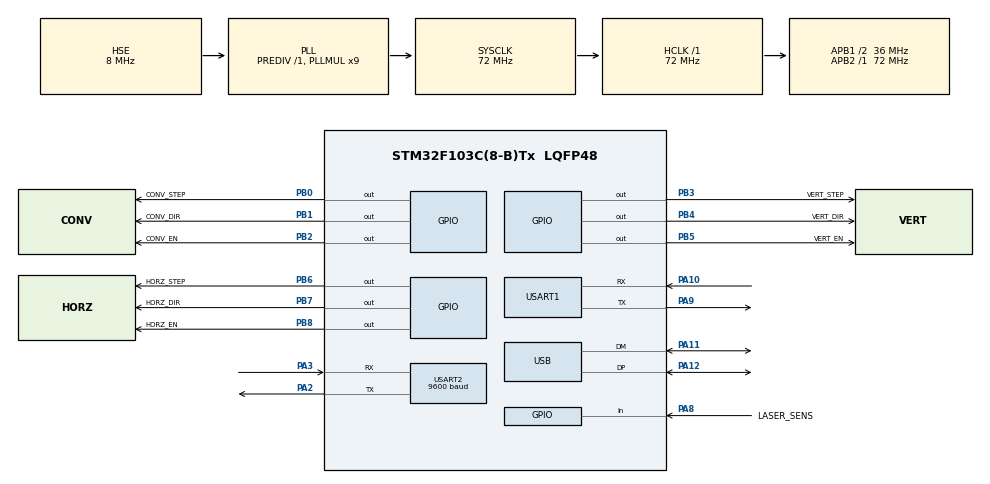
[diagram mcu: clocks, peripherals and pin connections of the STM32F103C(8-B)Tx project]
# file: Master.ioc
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Mcu.Family=STM32F1
Mcu.Name=STM32F103C(8-B)Tx
Mcu.Package=LQFP48
NVIC.PriorityGroup=NVIC_PRIORITYGROUP_4
NVIC.TIM2_IRQn=true\:0\:0\:false\:false\:true\:true\:true\:true
NVIC.USART1_IRQn=true\:0\:0\:false\:false\:true\:true\:true\:true
NVIC.USART2_IRQn=true\:0\:0\:false\:false\:true\:true\:true\:true
PA10.Mode=Asynchronous
PA10.Signal=USART1_RX
PA11.Mode=Device
PA11.Signal=USB_DM
PA12.Mode=Device
PA12.Signal=USB_DP
PA2.Mode=Asynchronous
PA2.Signal=USART2_TX
PA3.Mode=Asynchronous
PA3.Signal=USART2_RX
PA8.GPIO_Label=LASER_SENS
PA8.GPIO_PuPd=GPIO_PULLUP
PA8.Signal=GPIO_Input
PA9.Mode=Asynchronous
PA9.Signal=USART1_TX
PB0.GPIO_Label=CONV_STEP
PB0.Signal=GPIO_Output
PB1.GPIO_Label=CONV_DIR
PB1.Signal=GPIO_Output
PB2.GPIO_Label=CONV_EN
PB2.Signal=GPIO_Output
PB3.GPIO_Label=VERT_STEP
PB3.Signal=GPIO_Output
PB4.GPIO_Label=VERT_DIR
PB4.Signal=GPIO_Output
PB5.GPIO_Label=VERT_EN
PB5.Signal=GPIO_Output
PB6.GPIO_Label=HORZ_STEP
PB6.Signal=GPIO_Output
PB7.GPIO_Label=HORZ_DIR
PB7.Signal=GPIO_Output
PB8.GPIO_Label=HORZ_EN
PB8.Signal=GPIO_Output
PC14-OSC32_IN.Mode=LSE-External-Oscillator
PC14-OSC32_IN.Signal=RCC_OSC32_IN
PC15-OSC32_OUT.Mode=LSE-External-Oscillator
PC15-OSC32_OUT.Signal=RCC_OSC32_OUT
PD0-OSC_IN.Mode=HSE-External-Oscillator
PD0-OSC_IN.Signal=RCC_OSC_IN
PD1-OSC_OUT.Mode=HSE-External-Oscillator
PD1-OSC_OUT.Signal=RCC_OSC_OUT
ProjectManager.HeapSize=0x200
ProjectManager.StackSize=0x400
ProjectManager.TargetToolchain=CMake
RCC.AHBFreq_Value=72000000
RCC.APB1CLKDivider=RCC_HCLK_DIV2
RCC.APB1Freq_Value=36000000
RCC.APB1TimFreq_Value=72000000
RCC.APB2Freq_Value=72000000
RCC.APB2TimFreq_Value=72000000
RCC.HCLKFreq_Value=72000000
RCC.PLLMUL=RCC_PLL_MUL9
RCC.SYSCLKFreq_VALUE=72000000
RCC.SYSCLKSource=RCC_SYSCLKSOURCE_PLLCLK
RCC.USBFreq_Value=48000000
RCC.USBPrescaler=RCC_USBCLKSOURCE_PLL_DIV1_5
USART1.VirtualMode=VM_ASYNC
USART2.BaudRate=9600
USART2.VirtualMode=VM_ASYNC
VP_SYS_VS_ND.Mode=No_Debug
VP_TIM2_VS_ClockSourceINT.Mode=Internal
board=custom

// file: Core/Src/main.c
/* USER CODE BEGIN Header */
/**
  ******************************************************************************
  * @file           : main.c
  * @brief          : Main program body
  ******************************************************************************
  * @attention
  *
  * Copyright (c) 2026 STMicroelectronics.
  * All rights reserved.
  *
  * This software is licensed under terms that can be found in the LICENSE file
  * in the root directory of this software component.
  * If no LICENSE file comes with this software, it is provided AS-IS.
  *
  ******************************************************************************
  */
/* USER CODE END Header */
#include "main.h"

/* USER CODE BEGIN Includes */
#include <stdlib.h>
#include <string.h>
#include <stdio.h>
#include <stdarg.h>
/* USER CODE END Includes */

/* USER CODE BEGIN PD */
#define MY_MCU_ID      1
#define MAX_ROWS       10
#define MAX_COLS       10
#define STEPS_PER_UNIT 100
/* USER CODE END PD */

TIM_HandleTypeDef htim2;

UART_HandleTypeDef huart1;
UART_HandleTypeDef huart2;

PCD_HandleTypeDef hpcd_USB_FS;

/* USER CODE BEGIN PV */
int current_row = 0;
int current_col = 0;

#define RX_BUFFER_SIZE 15
uint8_t rx_byte;
char rx_str_buffer[RX_BUFFER_SIZE];
uint8_t rx_index = 0;
volatile uint8_t command_ready = 0;
/* USER CODE END PV */

void SystemClock_Config(void);
static void MX_GPIO_Init(void);
static void MX_TIM2_Init(void);
static void MX_USART1_UART_Init(void);
static void MX_USART2_UART_Init(void);
static void MX_USB_PCD_Init(void);

/* USER CODE BEGIN 0 */
void delay_us(uint32_t us) {
    __HAL_TIM_SET_COUNTER(&htim2, 0);
    while (__HAL_TIM_GET_COUNTER(&htim2) < us);
}

void send_status(const char* format, ...) {
    char buffer[64];
    va_list args;
    va_start(args, format);
    int len = vsnprintf(buffer, sizeof(buffer), format, args);
    va_end(args);

    if (len > 0) {
        char final_msg[80];
        int final_len = snprintf(final_msg, sizeof(final_msg), "%s\r\n", buffer);
        HAL_UART_Transmit(&huart1, (uint8_t*)final_msg, final_len, HAL_MAX_DELAY);
    }
}

void execute_motor_steps(const char* axis_name, int total_steps, int forward) {
    if (strcmp(axis_name, "Vertical") == 0) {
        GPIO_PinState dir_state = forward ? GPIO_PIN_SET : GPIO_PIN_RESET;
        HAL_GPIO_WritePin(GPIOB, VERT_DIR_Pin, dir_state);
        HAL_GPIO_WritePin(GPIOB, VERT_EN_Pin, GPIO_PIN_RESET); // Enable driver

        for (int i = 0; i < total_steps; i++) {
            HAL_GPIO_WritePin(GPIOB, VERT_STEP_Pin, GPIO_PIN_SET);
            delay_us(5);
            HAL_GPIO_WritePin(GPIOB, VERT_STEP_Pin, GPIO_PIN_RESET);
            delay_us(5);
        }
    } else {
        GPIO_PinState dir_state = forward ? GPIO_PIN_SET : GPIO_PIN_RESET;
        HAL_GPIO_WritePin(GPIOB, HORZ_DIR_Pin, dir_state);
        HAL_GPIO_WritePin(GPIOB, HORZ_EN_Pin, GPIO_PIN_RESET); // Enable driver

        for (int i = 0; i < total_steps; i++) {
            HAL_GPIO_WritePin(GPIOB, HORZ_STEP_Pin, GPIO_PIN_SET);
            delay_us(5);
            HAL_GPIO_WritePin(GPIOB, HORZ_STEP_Pin, GPIO_PIN_RESET);
            delay_us(5);
        }
    }
}

void move_to_coordinate(int target_row, int target_col) {
    if (target_row < 0 || target_row >= MAX_ROWS || target_col < 0 || target_col >= MAX_COLS) {
        return;
    }

    int row_diff = target_row - current_row;
    int col_diff = target_col - current_col;

    if (row_diff != 0) {
        int forward = (row_diff > 0) ? 1 : 0;
        int total_steps = abs(row_diff) * STEPS_PER_UNIT;
        execute_motor_steps("Vertical", total_steps, forward);
        current_row = target_row;
    }

    if (col_diff != 0) {
        int forward = (col_diff > 0) ? 1 : 0;
        int total_steps = abs(col_diff) * STEPS_PER_UNIT;
        execute_motor_steps("Horizontal", total_steps, forward);
        current_col = target_col;
    }
}

void run_conveyor_until_sensor(void) {
    HAL_GPIO_WritePin(GPIOB, CONV_DIR_Pin, GPIO_PIN_SET);
    HAL_GPIO_WritePin(GPIOB, CONV_EN_Pin, GPIO_PIN_RESET);

    while (HAL_GPIO_ReadPin(LASER_SENS_GPIO_Port, LASER_SENS_Pin) == GPIO_PIN_SET) {
        HAL_GPIO_WritePin(GPIOB, CONV_STEP_Pin, GPIO_PIN_SET);
        delay_us(1000);
        HAL_GPIO_WritePin(GPIOB, CONV_STEP_Pin, GPIO_PIN_RESET);
        delay_us(1000);
    }

    send_status("Laser: Object Detected");

    HAL_GPIO_WritePin(GPIOB, CONV_EN_Pin, GPIO_PIN_SET);
    send_status("Conveyor: Stoped");
}
/* USER CODE END 0 */

int main(void)
{

  /* MCU Configuration--------------------------------------------------------*/

  /* Reset of all peripherals, Initializes the Flash interface and the Systick. */
  HAL_Init();

  /* Configure the system clock */
  SystemClock_Config();

  /* Initialize all configured peripherals */
  MX_GPIO_Init();
  MX_TIM2_Init();
  MX_USART1_UART_Init();
  MX_USART2_UART_Init();
  MX_USB_PCD_Init();
  /* USER CODE BEGIN 2 */
  // Start microsecond timer
  HAL_TIM_Base_Start(&htim2);

  // Start listening for incoming commands on UART1 via interrupt
  HAL_UART_Receive_IT(&huart1, &rx_byte, 1);
  /* USER CODE END 2 */

  /* Infinite loop */
  /* USER CODE BEGIN WHILE */
  while (1)
  {
    if (command_ready){
command_ready = 0;

      send_status("1. Message Received: \"%s\"", rx_str_buffer);

      if (strlen(rx_str_buffer) >= 3) {
        int target_mcu_id = rx_str_buffer[0] - '0';
        char row_char = rx_str_buffer[1];
        int target_c = atoi(&rx_str_buffer[2]);

        if (target_mcu_id != MY_MCU_ID) {
          send_status("2. Address Wrong: \"%s\"", rx_str_buffer);
          send_status("3. Sending to MCU: %d", target_mcu_id);

          char forward_msg[RX_BUFFER_SIZE + 2];
          sprintf(forward_msg, "%s\r\n", rx_str_buffer);
          HAL_UART_Transmit(&huart2, (uint8_t*)forward_msg, strlen(forward_msg), HAL_MAX_DELAY);
        } else {
          send_status("4. Address Confirmed: \"%s\"", rx_str_buffer);
          send_status("5. Current Position: %d, %c, %d", MY_MCU_ID, current_row + 'A', current_col);

          int target_r = -1;
          if (row_char >= 'A' && row_char <= 'J') {
              target_r = row_char - 'A';
          } else if (row_char >= 'a' && row_char <= 'j') {
              target_r = row_char - 'a';
          }

          if (target_r >= 0 && target_c >= 0 && target_c < MAX_COLS) {
            send_status("6. Moving To Desired Point: \"%c%d\"", row_char, target_c);

            // 1. Move table to target coordinates
            move_to_coordinate(target_r, target_c);
            send_status("7. Current Position: %d, %c, %d", MY_MCU_ID, current_row + 'A', current_col);

            // 2. Picking phase
            send_status("8. Picking: \"5 Pick\"");
            char pick_msg[] = "5_pick\r\n";
            HAL_UART_Transmit(&huart2, (uint8_t*)pick_msg, strlen(pick_msg), HAL_MAX_DELAY);

            HAL_Delay(10000);
            send_status("9. Picking: Done");

            // 3. Moving to drop point (A0)
            send_status("10. Moving to Drop point: \"A0\"");
            move_to_coordinate(0, 0);
            send_status("11. Current Position: %d, %c, %d", MY_MCU_ID, current_row + 'A', current_col);

            send_status("12. Droping: \"5 Drop\"");
            // (Optional drop transmission if needed, status logged)

            HAL_Delay(2000); // Small drop pause if needed
            send_status("13. Droping: Done");

            // 4. Moving to Home
            send_status("14. Moving to Home \"A0\"");
            move_to_coordinate(0, 0);
            send_status("15. Current Position: %d, %c, %d", MY_MCU_ID, current_row + 'A', current_col);

            // 5. Conveyor delivery
            send_status("16. Send Conveyor task: \"1 Deliver\"");
            run_conveyor_until_sensor();

            send_status("20. Task: Finished");
          }
        }
      }
    }
                /* USER CODE END WHILE */
    }
}

void SystemClock_Config(void)
{
  RCC_OscInitTypeDef RCC_OscInitStruct = {0};
  RCC_ClkInitTypeDef RCC_ClkInitStruct = {0};
  RCC_PeriphCLKInitTypeDef PeriphClkInit = {0};

  /** Initializes the RCC Oscillators according to the specified parameters
  * in the RCC_OscInitTypeDef structure.
  */
  RCC_OscInitStruct.OscillatorType = RCC_OSCILLATORTYPE_HSE;
  RCC_OscInitStruct.HSEState = RCC_HSE_ON;
  RCC_OscInitStruct.HSEPredivValue = RCC_HSE_PREDIV_DIV1;
  RCC_OscInitStruct.HSIState = RCC_HSI_ON;
  RCC_OscInitStruct.PLL.PLLState = RCC_PLL_ON;
  RCC_OscInitStruct.PLL.PLLSource = RCC_PLLSOURCE_HSE;
  RCC_OscInitStruct.PLL.PLLMUL = RCC_PLL_MUL9;
  if (HAL_RCC_OscConfig(&RCC_OscInitStruct) != HAL_OK)
  {
    Error_Handler();
  }

  /** Initializes the CPU, AHB and APB buses clocks
  */
  RCC_ClkInitStruct.ClockType = RCC_CLOCKTYPE_HCLK|RCC_CLOCKTYPE_SYSCLK
                              |RCC_CLOCKTYPE_PCLK1|RCC_CLOCKTYPE_PCLK2;
  RCC_ClkInitStruct.SYSCLKSource = RCC_SYSCLKSOURCE_PLLCLK;
  RCC_ClkInitStruct.AHBCLKDivider = RCC_SYSCLK_DIV1;
  RCC_ClkInitStruct.APB1CLKDivider = RCC_HCLK_DIV2;
  RCC_ClkInitStruct.APB2CLKDivider = RCC_HCLK_DIV1;

  if (HAL_RCC_ClockConfig(&RCC_ClkInitStruct, FLASH_LATENCY_2) != HAL_OK)
  {
    Error_Handler();
  }
  PeriphClkInit.PeriphClockSelection = RCC_PERIPHCLK_USB;
  PeriphClkInit.UsbClockSelection = RCC_USBCLKSOURCE_PLL_DIV1_5;
  if (HAL_RCCEx_PeriphCLKConfig(&PeriphClkInit) != HAL_OK)
  {
    Error_Handler();
  }
}

static void MX_TIM2_Init(void)
{

  TIM_ClockConfigTypeDef sClockSourceConfig = {0};
  TIM_MasterConfigTypeDef sMasterConfig = {0};

  htim2.Instance = TIM2;
  htim2.Init.Prescaler = 71;
  htim2.Init.CounterMode = TIM_COUNTERMODE_UP;
  htim2.Init.Period = 65535;
  htim2.Init.ClockDivision = TIM_CLOCKDIVISION_DIV1;
  htim2.Init.AutoReloadPreload = TIM_AUTORELOAD_PRELOAD_DISABLE;
  if (HAL_TIM_Base_Init(&htim2) != HAL_OK)
  {
    Error_Handler();
  }
  sClockSourceConfig.ClockSource = TIM_CLOCKSOURCE_INTERNAL;
  if (HAL_TIM_ConfigClockSource(&htim2, &sClockSourceConfig) != HAL_OK)
  {
    Error_Handler();
  }
  sMasterConfig.MasterOutputTrigger = TIM_TRGO_RESET;
  sMasterConfig.MasterSlaveMode = TIM_MASTERSLAVEMODE_DISABLE;
  if (HAL_TIMEx_MasterConfigSynchronization(&htim2, &sMasterConfig) != HAL_OK)
  {
    Error_Handler();
  }

}

static void MX_USART1_UART_Init(void)
{

  huart1.Instance = USART1;
  huart1.Init.BaudRate = 115200;
  huart1.Init.WordLength = UART_WORDLENGTH_8B;
  huart1.Init.StopBits = UART_STOPBITS_1;
  huart1.Init.Parity = UART_PARITY_NONE;
  huart1.Init.Mode = UART_MODE_TX_RX;
  huart1.Init.HwFlowCtl = UART_HWCONTROL_NONE;
  huart1.Init.OverSampling = UART_OVERSAMPLING_16;
  if (HAL_UART_Init(&huart1) != HAL_OK)
  {
    Error_Handler();
  }

}

static void MX_USART2_UART_Init(void)
{

  huart2.Instance = USART2;
  huart2.Init.BaudRate = 115200;
  huart2.Init.WordLength = UART_WORDLENGTH_8B;
  huart2.Init.StopBits = UART_STOPBITS_1;
  huart2.Init.Parity = UART_PARITY_NONE;
  huart2.Init.Mode = UART_MODE_TX_RX;
  huart2.Init.HwFlowCtl = UART_HWCONTROL_NONE;
  huart2.Init.OverSampling = UART_OVERSAMPLING_16;
  if (HAL_UART_Init(&huart2) != HAL_OK)
  {
    Error_Handler();
  }

}

static void MX_USB_PCD_Init(void)
{

  hpcd_USB_FS.Instance = USB;
  hpcd_USB_FS.Init.dev_endpoints = 8;
  hpcd_USB_FS.Init.speed = PCD_SPEED_FULL;
  hpcd_USB_FS.Init.low_power_enable = DISABLE;
  hpcd_USB_FS.Init.lpm_enable = DISABLE;
  hpcd_USB_FS.Init.battery_charging_enable = DISABLE;
  if (HAL_PCD_Init(&hpcd_USB_FS) != HAL_OK)
  {
    Error_Handler();
  }

}

static void MX_GPIO_Init(void)
{
  GPIO_InitTypeDef GPIO_InitStruct = {0};

  /* GPIO Ports Clock Enable */
  __HAL_RCC_GPIOC_CLK_ENABLE();
  __HAL_RCC_GPIOD_CLK_ENABLE();
  __HAL_RCC_GPIOA_CLK_ENABLE();
  __HAL_RCC_GPIOB_CLK_ENABLE();

  /*Configure GPIO pin Output Level */
  HAL_GPIO_WritePin(GPIOB, CONV_STEP_Pin|CONV_DIR_Pin|CONV_EN_Pin|VERT_STEP_Pin
                          |VERT_DIR_Pin|VERT_EN_Pin|HORZ_STEP_Pin|HORZ_DIR_Pin
                          |HORZ_EN_Pin, GPIO_PIN_RESET);

  /*Configure GPIO pins : CONV_STEP_Pin CONV_DIR_Pin CONV_EN_Pin VERT_STEP_Pin
                           VERT_DIR_Pin VERT_EN_Pin HORZ_STEP_Pin HORZ_DIR_Pin
                           HORZ_EN_Pin */
  GPIO_InitStruct.Pin = CONV_STEP_Pin|CONV_DIR_Pin|CONV_EN_Pin|VERT_STEP_Pin
                          |VERT_DIR_Pin|VERT_EN_Pin|HORZ_STEP_Pin|HORZ_DIR_Pin
                          |HORZ_EN_Pin;
  GPIO_InitStruct.Mode = GPIO_MODE_OUTPUT_PP;
  GPIO_InitStruct.Pull = GPIO_NOPULL;
  GPIO_InitStruct.Speed = GPIO_SPEED_FREQ_LOW;
  HAL_GPIO_Init(GPIOB, &GPIO_InitStruct);

  /*Configure GPIO pin : LASER_SENS_Pin */
  GPIO_InitStruct.Pin = LASER_SENS_Pin;
  GPIO_InitStruct.Mode = GPIO_MODE_INPUT;
  GPIO_InitStruct.Pull = GPIO_PULLUP;
  HAL_GPIO_Init(LASER_SENS_GPIO_Port, &GPIO_InitStruct);

}

/* USER CODE BEGIN 4 */
void HAL_UART_RxCpltCallback(UART_HandleTypeDef *huart) {
    if (huart->Instance == USART1) {
        if (rx_byte == '\n' || rx_byte == '\r') {
            if (rx_index > 0) {
                rx_str_buffer[rx_index] = '\0';
                command_ready = 1;
                rx_index = 0;
            }
        } else {
            if (rx_index < (RX_BUFFER_SIZE - 1)) {
                rx_str_buffer[rx_index++] = rx_byte;
            }
        }
        HAL_UART_Receive_IT(&huart1, &rx_byte, 1);
    }
}
/* USER CODE END 4 */

void Error_Handler(void)
{
  __disable_irq();
  while (1)
  {
  }
}
